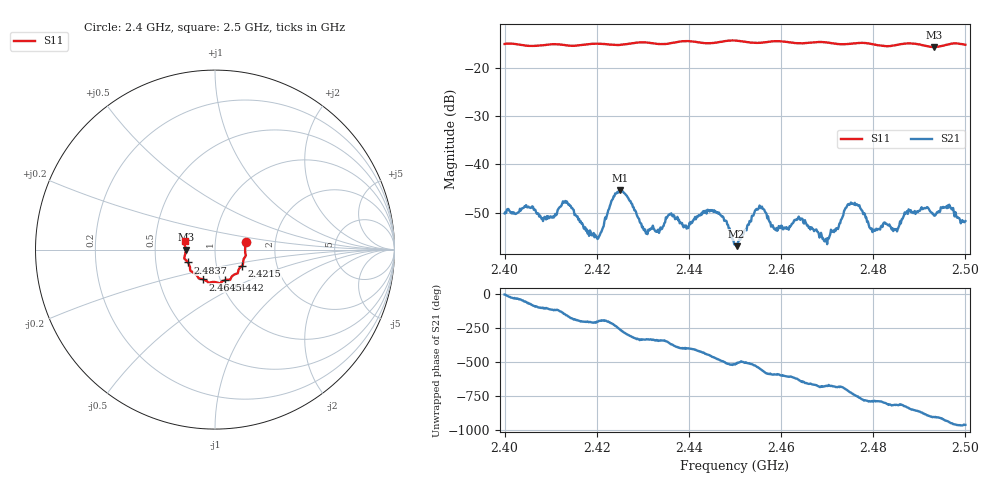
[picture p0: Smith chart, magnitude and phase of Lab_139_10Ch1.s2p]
# Hz S RI R 50
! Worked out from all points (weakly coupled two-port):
!   601 points, 2.4 GHz to 2.5 GHz, reference 50 ohm
!   highest |S21| = -45.28 dB at 2.425 GHz (marker M1); lowest = -56.9 dB at 2.4503 GHz (marker M2)
!   lowest |S11| = -15.7 dB at 2.4932 GHz (marker M3), VSWR 1.39, Z = 35.9 - j0.0473 ohm
!   |S11| at or under -10 dB: start of sweep to end of sweep
!   S12 and S22 are empty: the file has one direction only
!   S11 on the Smith chart (normalised r, x): 2.4 GHz: 1.41, +0.12; 2.4215 GHz: 1.33, -0.25; 2.4442 GHz: 1.05, -0.37; 2.4645 GHz: 0.83, -0.29; 2.4837 GHz: 0.73, -0.11; 2.5 GHz: 0.71, +0.07
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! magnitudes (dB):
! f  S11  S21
! 2.4 GHz  -15.1  -50.1
! 2.4132 GHz  -15.3  -47.5
! 2.4167 GHz  -15.3  -52.2
! 2.42 GHz  -15.0  -55.0
! 2.4215 GHz  -15.1  -52.7
! 2.425 GHz  -15.3  -45.3
! 2.4305 GHz  -14.8  -53.4
! 2.4333 GHz  -15.1  -53.5
! 2.4442 GHz  -15.0  -49.4
! 2.45 GHz  -14.4  -56.5
! 2.4503 GHz  -14.4  -56.9
! 2.455 GHz  -14.9  -49.3
! 2.4588 GHz  -14.5  -53.6
! 2.4645 GHz  -15.0  -51.2
! 2.4667 GHz  -14.8  -53.0
! 2.4698 GHz  -14.8  -55.3
! 2.4755 GHz  -15.0  -48.1
! 2.4798 GHz  -15.1  -54.0
! 2.4833 GHz  -15.6  -52.6
! 2.4837 GHz  -15.5  -52.8
! 2.4932 GHz  -15.7  -50.5
! 2.5 GHz  -15.3  -51.7
